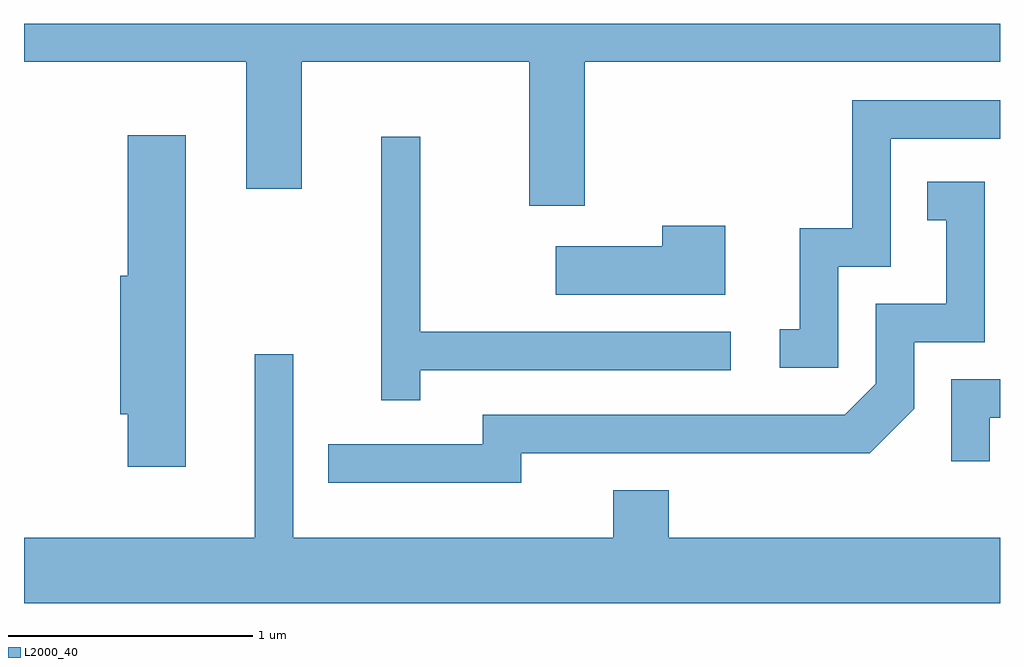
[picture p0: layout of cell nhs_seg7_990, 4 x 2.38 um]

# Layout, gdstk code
import gdstk
lib = gdstk.Library(unit=1e-6, precision=1e-09)
def P(c, l, *ps):  # polygons
    for p in ps: c.add(gdstk.Polygon(p, *l))
L2000_40 = (2000, 40)

nhs_seg7_990 = lib.new_cell('nhs_seg7_990')
P(nhs_seg7_990, L2000_40, [(217.909,1712.096),(219.611,1712.096),(219.611,1712.252),(215.611,1712.252),(215.611,1712.096),(216.521,1712.096),(216.521,1711.576),(216.749,1711.576),(216.749,1712.096),(217.681,1712.096),(217.681,1711.506),(217.909,1711.506)],
  [(218.949,1711.256),(219.164,1711.256),(219.164,1711.781),(219.611,1711.781),(219.611,1711.939),(219.006,1711.939),(219.006,1711.414),(218.791,1711.414),(218.791,1710.999),(218.708,1710.999),(218.708,1710.841),(218.949,1710.841)],
  [(216.274,1711.794),(216.036,1711.794),(216.036,1711.219),(216.006,1711.219),(216.006,1710.651),(216.036,1710.651),(216.036,1710.436),(216.274,1710.436)],
  [(217.234,1710.831),(218.508,1710.831),(218.508,1710.989),(217.234,1710.989),(217.234,1711.788),(217.076,1711.788),(217.076,1710.708),(217.234,1710.708)],
  [(217.649,1710.491),(219.077,1710.491),(219.259,1710.674),(219.259,1710.946),(219.549,1710.946),(219.549,1711.604),(219.313,1711.604),(219.313,1711.446),(219.391,1711.446),(219.391,1711.104),(219.101,1711.104),(219.101,1710.777),(218.974,1710.649),(217.491,1710.649),(217.491,1710.529),(216.858,1710.529),(216.858,1710.371),(217.649,1710.371)],
  [(218.484,1711.424),(218.226,1711.424),(218.226,1711.339),(217.791,1711.339),(217.791,1711.141),(218.484,1711.141)],
  [(219.611,1710.144),(218.254,1710.144),(218.254,1710.339),(218.026,1710.339),(218.026,1710.144),(216.714,1710.144),(216.714,1710.898),(216.556,1710.898),(216.556,1710.144),(215.611,1710.144),(215.611,1709.876),(219.611,1709.876)],
  [(219.569,1710.636),(219.611,1710.636),(219.611,1710.794),(219.411,1710.794),(219.411,1710.458),(219.569,1710.458)])

lib.write_gds('nhs_seg7_990.gds')
